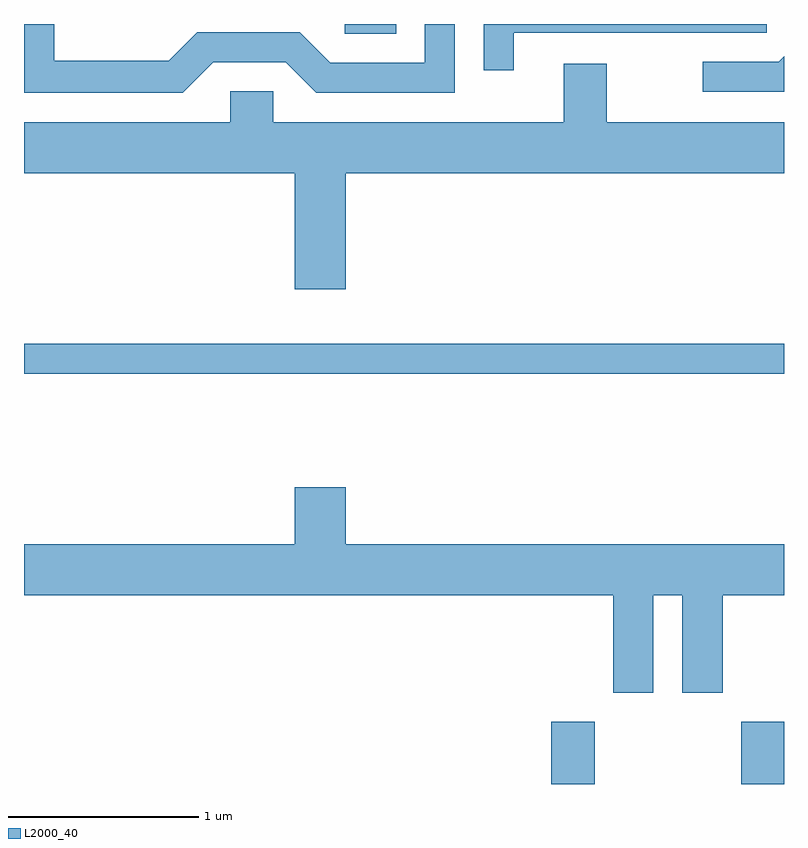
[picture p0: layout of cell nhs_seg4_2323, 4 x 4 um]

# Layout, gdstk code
import gdstk
lib = gdstk.Library(unit=1e-6, precision=1e-09)
def R(c, l, rs):  # rectangles x0, y0, x1, y1
    for r in rs: c.add(gdstk.rectangle(r[:2], r[2:], *l))
def P(c, l, *ps):  # polygons
    for p in ps: c.add(gdstk.Polygon(p, *l))
L2000_40 = (2000, 40)

nhs_seg4_2323 = lib.new_cell('nhs_seg4_2323')
R(nhs_seg4_2323, L2000_40, [(256.386,1275.982,256.614,1276.309), (257.386,1275.982,257.611,1276.309), (253.611,1278.141,257.611,1278.299), (255.298,1279.931,255.569,1279.982)])
P(nhs_seg4_2323, L2000_40, [(256.189,1279.936),(257.519,1279.936),(257.519,1279.982),(256.031,1279.982),(256.031,1279.738),(256.189,1279.738)],
  [(254.607,1279.781),(254.989,1279.781),(255.149,1279.621),(255.879,1279.621),(255.879,1279.982),(255.721,1279.982),(255.721,1279.779),(255.222,1279.779),(255.062,1279.939),(254.524,1279.939),(254.374,1279.789),(253.769,1279.789),(253.769,1279.982),(253.611,1279.982),(253.611,1279.621),(254.447,1279.621)],
  [(257.611,1279.811),(257.584,1279.784),(257.183,1279.784),(257.183,1279.626),(257.611,1279.626)],
  [(254.924,1279.629),(254.696,1279.629),(254.696,1279.464),(253.611,1279.464),(253.611,1279.196),(255.036,1279.196),(255.036,1278.586),(255.304,1278.586),(255.304,1279.196),(257.611,1279.196),(257.611,1279.464),(256.679,1279.464),(256.679,1279.774),(256.451,1279.774),(256.451,1279.464),(254.924,1279.464)],
  [(256.924,1276.976),(257.076,1276.976),(257.076,1276.461),(257.289,1276.461),(257.289,1276.976),(257.611,1276.976),(257.611,1277.244),(255.304,1277.244),(255.304,1277.544),(255.036,1277.544),(255.036,1277.244),(253.611,1277.244),(253.611,1276.976),(256.711,1276.976),(256.711,1276.461),(256.924,1276.461)])

lib.write_gds('nhs_seg4_2323.gds')
